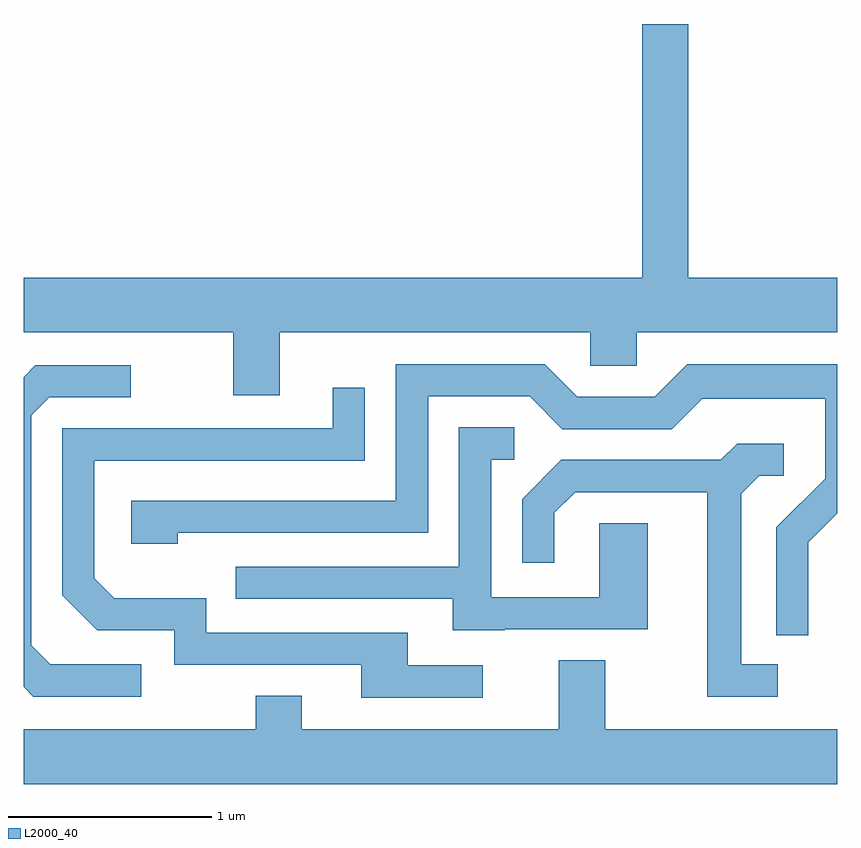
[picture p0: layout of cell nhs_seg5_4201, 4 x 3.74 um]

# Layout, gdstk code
import gdstk
lib = gdstk.Library(unit=1e-6, precision=1e-09)
def P(c, l, *ps):  # polygons
    for p in ps: c.add(gdstk.Polygon(p, *l))
L2000_40 = (2000, 40)

nhs_seg5_4201 = lib.new_cell('nhs_seg5_4201')
P(nhs_seg5_4201, L2000_40, [(310.869,1474.556),(312.396,1474.556),(312.396,1474.391),(312.624,1474.391),(312.624,1474.556),(313.611,1474.556),(313.611,1474.824),(312.879,1474.824),(312.879,1476.072),(312.651,1476.072),(312.651,1474.824),(309.611,1474.824),(309.611,1474.556),(310.641,1474.556),(310.641,1474.246),(310.869,1474.246)],
  [(313.469,1473.524),(313.611,1473.666),(313.611,1474.399),(312.874,1474.399),(312.714,1474.239),(312.332,1474.239),(312.172,1474.399),(311.441,1474.399),(311.441,1473.729),(310.141,1473.729),(310.141,1473.516),(310.369,1473.516),(310.369,1473.571),(311.599,1473.571),(311.599,1474.241),(312.099,1474.241),(312.259,1474.081),(312.797,1474.081),(312.947,1474.231),(313.551,1474.231),(313.551,1473.837),(313.311,1473.597),(313.311,1473.068),(313.469,1473.068)],
  [(310.188,1472.924),(309.742,1472.924),(309.649,1473.017),(309.649,1474.149),(309.737,1474.236),(310.138,1474.236),(310.138,1474.394),(309.669,1474.394),(309.611,1474.336),(309.611,1472.814),(309.659,1472.766),(310.188,1472.766)],
  [(311.868,1472.919),(311.499,1472.919),(311.499,1473.079),(310.509,1473.079),(310.509,1473.249),(310.057,1473.249),(309.959,1473.347),(309.959,1473.926),(311.289,1473.926),(311.289,1474.283),(311.131,1474.283),(311.131,1474.084),(309.801,1474.084),(309.801,1473.264),(309.974,1473.091),(310.351,1473.091),(310.351,1472.921),(311.271,1472.921),(311.271,1472.761),(311.868,1472.761)],
  [(311.975,1473.096),(312.679,1473.096),(312.679,1473.619),(312.441,1473.619),(312.441,1473.254),(311.909,1473.254),(311.909,1473.931),(312.023,1473.931),(312.023,1474.089),(311.751,1474.089),(311.751,1473.404),(310.653,1473.404),(310.653,1473.246),(311.721,1473.246),(311.721,1473.091),(311.975,1473.091)],
  [(313.318,1472.924),(313.139,1472.924),(313.139,1473.764),(313.227,1473.851),(313.348,1473.851),(313.348,1474.009),(313.119,1474.009),(313.039,1473.929),(312.254,1473.929),(312.061,1473.737),(312.061,1473.423),(312.219,1473.423),(312.219,1473.669),(312.322,1473.771),(312.971,1473.771),(312.971,1472.766),(313.318,1472.766)],
  [(313.611,1472.604),(312.469,1472.604),(312.469,1472.944),(312.241,1472.944),(312.241,1472.604),(310.979,1472.604),(310.979,1472.769),(310.751,1472.769),(310.751,1472.604),(309.611,1472.604),(309.611,1472.336),(313.611,1472.336)])

lib.write_gds('nhs_seg5_4201.gds')
